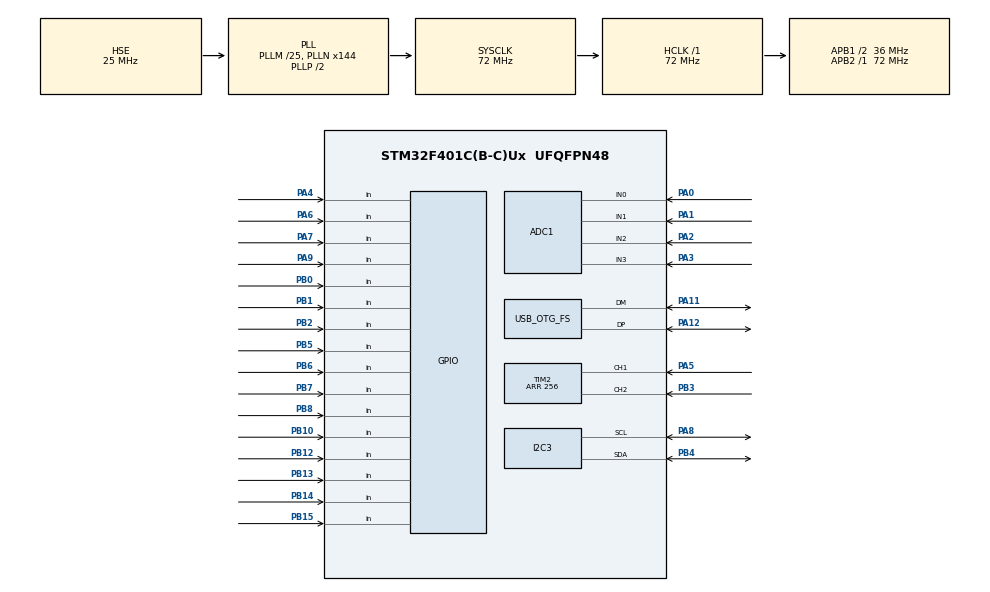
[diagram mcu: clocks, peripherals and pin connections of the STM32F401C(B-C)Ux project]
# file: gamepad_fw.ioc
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ADC1.Channel-0\#ChannelRegularConversion=ADC_CHANNEL_0
ADC1.Channel-1\#ChannelRegularConversion=ADC_CHANNEL_1
ADC1.Channel-2\#ChannelRegularConversion=ADC_CHANNEL_2
ADC1.Channel-3\#ChannelRegularConversion=ADC_CHANNEL_3
ADC1.ContinuousConvMode=ENABLE
ADC1.NbrOfConversion=4
ADC1.NbrOfConversionFlag=1
ADC1.Rank-0\#ChannelRegularConversion=1
ADC1.Rank-1\#ChannelRegularConversion=2
ADC1.Rank-2\#ChannelRegularConversion=3
ADC1.Rank-3\#ChannelRegularConversion=4
ADC1.SamplingTime-0\#ChannelRegularConversion=ADC_SAMPLETIME_3CYCLES
ADC1.SamplingTime-1\#ChannelRegularConversion=ADC_SAMPLETIME_3CYCLES
ADC1.SamplingTime-2\#ChannelRegularConversion=ADC_SAMPLETIME_3CYCLES
ADC1.SamplingTime-3\#ChannelRegularConversion=ADC_SAMPLETIME_3CYCLES
ADC1.ScanConvMode=ENABLE
ADC1.master=1
I2C3.I2C_Mode=I2C_Fast
Mcu.Family=STM32F4
Mcu.Name=STM32F401C(B-C)Ux
Mcu.Package=UFQFPN48
NVIC.OTG_FS_IRQn=true\:0\:0\:false\:false\:true\:false\:true\:true
NVIC.PriorityGroup=NVIC_PRIORITYGROUP_4
PA0-WKUP.Signal=ADCx_IN0
PA1.Signal=ADCx_IN1
PA11.Mode=Device_Only
PA11.Signal=USB_OTG_FS_DM
PA12.Mode=Device_Only
PA12.Signal=USB_OTG_FS_DP
PA2.Signal=ADCx_IN2
PA3.Signal=ADCx_IN3
PA4.GPIO_PuPd=GPIO_PULLUP
PA4.Signal=GPIO_Input
PA5.Signal=S_TIM2_CH1_ETR
PA6.GPIO_PuPd=GPIO_PULLUP
PA6.Signal=GPIO_Input
PA7.GPIO_PuPd=GPIO_PULLUP
PA7.Signal=GPIO_Input
PA8.Mode=I2C
PA8.Signal=I2C3_SCL
PA9.GPIO_PuPd=GPIO_PULLUP
PA9.Signal=GPIO_Input
PB0.GPIO_PuPd=GPIO_PULLUP
PB0.Signal=GPIO_Input
PB1.GPIO_PuPd=GPIO_PULLUP
PB1.Signal=GPIO_Input
PB10.GPIO_PuPd=GPIO_PULLUP
PB10.Signal=GPIO_Input
PB12.GPIO_PuPd=GPIO_PULLUP
PB12.Signal=GPIO_Input
PB13.GPIO_PuPd=GPIO_PULLUP
PB13.Signal=GPIO_Input
PB14.GPIO_PuPd=GPIO_PULLUP
PB14.Signal=GPIO_Input
PB15.GPIO_PuPd=GPIO_PULLUP
PB15.Signal=GPIO_Input
PB2.GPIO_PuPd=GPIO_PULLUP
PB2.Signal=GPIO_Input
PB3.Signal=S_TIM2_CH2
PB4.Mode=I2C
PB4.Signal=I2C3_SDA
PB5.GPIO_PuPd=GPIO_PULLUP
PB5.Signal=GPIO_Input
PB6.GPIO_PuPd=GPIO_PULLUP
PB6.Signal=GPIO_Input
PB7.GPIO_PuPd=GPIO_PULLUP
PB7.Signal=GPIO_Input
PB8.GPIO_PuPd=GPIO_PULLUP
PB8.Signal=GPIO_Input
PH0\ -\ OSC_IN.Mode=HSE-External-Oscillator
PH0\ -\ OSC_IN.Signal=RCC_OSC_IN
PH1\ -\ OSC_OUT.Mode=HSE-External-Oscillator
PH1\ -\ OSC_OUT.Signal=RCC_OSC_OUT
ProjectManager.HeapSize=0x200
ProjectManager.StackSize=0x400
ProjectManager.TargetToolchain=STM32CubeIDE
RCC.48MHZClocksFreq_Value=48000000
RCC.AHBFreq_Value=72000000
RCC.APB1CLKDivider=RCC_HCLK_DIV2
RCC.APB1Freq_Value=36000000
RCC.APB1TimFreq_Value=72000000
RCC.APB2Freq_Value=72000000
RCC.APB2TimFreq_Value=72000000
RCC.CortexFreq_Value=72000000
RCC.HCLKFreq_Value=72000000
RCC.HSE_VALUE=25000000
RCC.HSI_VALUE=16000000
RCC.LSE_VALUE=32768
RCC.PLLM=25
RCC.PLLN=144
RCC.PLLQ=3
RCC.SYSCLKFreq_VALUE=72000000
RCC.SYSCLKSource=RCC_SYSCLKSOURCE_PLLCLK
RCC.VCOOutputFreq_Value=144000000
SH.ADCx_IN0.0=ADC1_IN0,IN0
SH.ADCx_IN1.0=ADC1_IN1,IN1
SH.ADCx_IN2.0=ADC1_IN2,IN2
SH.ADCx_IN3.0=ADC1_IN3,IN3
SH.S_TIM2_CH1_ETR.0=TIM2_CH1,Encoder_Interface
SH.S_TIM2_CH2.0=TIM2_CH2,Encoder_Interface
TIM2.EncoderMode=TIM_ENCODERMODE_TI12
TIM2.Period=256
USB_DEVICE.CLASS_NAME_FS=CUSTOM_HID
USB_DEVICE.PRODUCT_STRING_CUSTOMHID_FS=STM32 GAMEPAD
USB_DEVICE.VirtualMode=CustomHid
USB_DEVICE.VirtualModeFS=Custom_Hid_FS
USB_OTG_FS.VirtualMode=Device_Only
VP_USB_DEVICE_VS_USB_DEVICE_CUSTOM_HID_FS.Mode=CUSTOM_HID_FS
board=custom

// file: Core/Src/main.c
/* USER CODE BEGIN Header */
/**
  ******************************************************************************
  * @file           : main.c
  * @brief          : Main program body
  ******************************************************************************
  * @attention
  *
  * Copyright (c) 2023 STMicroelectronics.
  * All rights reserved.
  *
  * This software is licensed under terms that can be found in the LICENSE file
  * in the root directory of this software component.
  * If no LICENSE file comes with this software, it is provided AS-IS.
  *
  ******************************************************************************
  */
/* USER CODE END Header */
#include "main.h"
#include "usb_device.h"
#include <stdio.h>
#include <stdlib.h>

/* USER CODE BEGIN Includes */
#include "ssd1306.h"
#include "ssd1306_conf.h"
#include "ssd1306_fonts.h"
#include "ssd1306_tests.h"
/* USER CODE END Includes */

/* USER CODE BEGIN PTD */
/** **/
typedef enum {
    MODE_GAMEPAD,
    MODE_MOUSE,
    MODE_COUNT
} Mode;

typedef struct
__attribute__((__packed__))
{
  uint8_t reportId;                        // Report ID = 0x01
  uint8_t leftClick:1;
  uint8_t rightClick:1;
  uint8_t midClick:1;
  uint8_t pad:5;
  int8_t pointerX;
  int8_t pointerY;
  int8_t wheel;
} mouseReport_t;

typedef struct
__attribute__((__packed__))
{
	uint8_t reportId; 	                 	//Report ID 0x01
	uint16_t buttons;
	int8_t leftX;
	int8_t leftY;
	int8_t rightX;
	int8_t rightY;
}gamepadReport_t;

/* USER CODE END PTD */

#define BTN_NUM 			16
#define ADC_CHANNELS		4

ADC_HandleTypeDef hadc1;

I2C_HandleTypeDef hi2c3;

TIM_HandleTypeDef htim2;

GPIO_TypeDef* port[BTN_NUM] = {GPIOB, GPIOA, GPIOA, GPIOB, GPIOB, GPIOB, GPIOB, GPIOB, GPIOA, GPIOB, GPIOA, GPIOB, GPIOB, GPIOB, GPIOB, GPIOB};
uint16_t pin[BTN_NUM] = {GPIO_PIN_0, GPIO_PIN_7, GPIO_PIN_6, GPIO_PIN_1, GPIO_PIN_12, GPIO_PIN_10, GPIO_PIN_13, GPIO_PIN_2, GPIO_PIN_9, GPIO_PIN_15, GPIO_PIN_4, GPIO_PIN_14, GPIO_PIN_5, GPIO_PIN_7, GPIO_PIN_8, GPIO_PIN_6};
uint8_t keycode[BTN_NUM] = {0x04, 0x05, 0x06, 0x07, 0x08, 0x09, 0x0A, 0x0B, 0x0C, 0x0D, 0x0E, 0x0F, 0x10, 0x11, 0x12, 0x13};

/* USER CODE BEGIN PV */
mouseReport_t mouseReport = {0x02, 0, 0, 0, 0, 0, 0};
gamepadReport_t gamepadReport = {0x01, 0, 0, 0, 0, 0};

char lcdBuffer[3][32];

uint16_t adcValues[ADC_CHANNELS];
Mode modeState = MODE_GAMEPAD;

/* USER CODE END PV */

void SystemClock_Config(void);
static void MX_GPIO_Init(void);
static void MX_ADC1_Init(void);
static void MX_I2C3_Init(void);
static void MX_TIM2_Init(void);
/* USER CODE BEGIN PFP */
extern USBD_HandleTypeDef hUsbDeviceFS;
void USBD_CUSTOM_HID_SendReport();
/* USER CODE END PFP */

/* USER CODE BEGIN 0 */
void mouseProcess(void);
void gamepadProcess(void);

uint32_t getADCValue(uint32_t channel);
void getAllADCValue(void);

uint8_t switchMode(void);

/* Array of mode handlers */
void (*modeHandlers[])(void) = {gamepadProcess, mouseProcess};

/* Display update */
void updateDisplay(void);

/* USER CODE END 0 */

int main(void)
{

  /* MCU Configuration--------------------------------------------------------*/

  /* Reset of all peripherals, Initializes the Flash interface and the Systick. */
  HAL_Init();

  /* Configure the system clock */
  SystemClock_Config();

  /* Initialize all configured peripherals */
  MX_GPIO_Init();
  MX_ADC1_Init();
  MX_I2C3_Init();
  MX_TIM2_Init();
  MX_USB_DEVICE_Init();
  ssd1306_Init();

  ssd1306_Fill(Black);
  ssd1306_SetCursor(1, 15);
  ssd1306_WriteString("Test 2", Font_6x8, White);
  ssd1306_UpdateScreen();
  HAL_Delay(3000);
  /* USER CODE BEGIN 2 */
  HAL_TIM_Encoder_Start(&htim2, TIM_CHANNEL_1 | TIM_CHANNEL_2);
  /* USER CODE END 2 */

  /* Infinite loop */
  while (1)
  {
	  getAllADCValue();
	  if(switchMode())
	  {
		  while(switchMode());
		  modeState++;
		  if(modeState > MODE_COUNT)
			  modeState = MODE_GAMEPAD;
	  }

	  modeHandlers[modeState]();
	  updateDisplay();
  }
}

/**** Functions definition****/

/*
 * @brief	Switch mode condition
 * @retval	none
 * @note	Hold PB0, PA6, PB1 at the same time and then release
 */
uint8_t switchMode(void)
{
	return (!(HAL_GPIO_ReadPin(GPIOB, GPIO_PIN_0) && HAL_GPIO_ReadPin(GPIOA, GPIO_PIN_6) && HAL_GPIO_ReadPin(GPIOB, GPIO_PIN_1)));
}

/*
 * @brief	Update Display
 * @retval	None
 */
void updateDisplay(void)
{
    const char *modeNames[] = { "Gamepad Mode", "Mouse Mode"};
    sprintf(lcdBuffer[0], "%s", modeNames[modeState]);
    sprintf(lcdBuffer[1], "ADC: %d %d", adcValues[0], adcValues[1]);
    sprintf(lcdBuffer[2], "ADC: %d %d", adcValues[2], adcValues[3]);

    ssd1306_Fill(Black);
    ssd1306_SetCursor(1, 10);
    ssd1306_WriteString(lcdBuffer[0], Font_6x8, White);
    ssd1306_SetCursor(1, 30);
    ssd1306_WriteString(lcdBuffer[1], Font_6x8, White);
    ssd1306_SetCursor(1, 50);
    ssd1306_WriteString(lcdBuffer[2], Font_6x8, White);
    ssd1306_UpdateScreen();
}

/*
 * @brief	Get ADC value from a channel of ADC1
 * @retval 	uint32
 */
//uint32_t getADCValue(uint32_t channel)
//{
//	uint32_t value = 0;
//	ADC_ChannelConfTypeDef sConfig = {0};
//	sConfig.Channel = channel;
//	sConfig.Rank = 1;
//	sConfig.SamplingTime = ADC_SAMPLETIME_3CYCLES;
//	if (HAL_ADC_ConfigChannel(&hadc1, &sConfig) != HAL_OK)
//	{
//		Error_Handler();
//	}
//	HAL_ADC_Start(&hadc1);
//	HAL_Delay(1);
//	HAL_ADC_PollForConversion(&hadc1, 10);
//	value = HAL_ADC_GetValue(&hadc1);
//	HAL_ADC_Stop(&hadc1);
//	return value;
//}

/*
 * @brief	Get values from ADC1 channel 0-4 and assign into array adcValues
 * @retval	None
 * @note	Continuous Conversion Mode is enabled
 */
void getAllADCValue(void)
{
    HAL_ADC_Start(&hadc1);
    for (uint8_t i = 0; i < 4; i++)
    {
        if (HAL_ADC_PollForConversion(&hadc1, HAL_MAX_DELAY) == HAL_OK)
        {
            adcValues[i] = HAL_ADC_GetValue(&hadc1);
        }
    }

    HAL_ADC_Stop(&hadc1);
}

/*
 * @brief	Gamepad Process
 * @retval	None
 */
void mouseProcess(void)
{
	// Get axes values
    mouseReport.pointerX = (adcValues[3] - 2047) * 255 / 4095;		// -127 - 127
    mouseReport.pointerY = (2047 - adcValues[2]) * 255 / 4095;

    // Get buttons state
    mouseReport.leftClick = (HAL_GPIO_ReadPin(GPIOB, GPIO_PIN_0) == GPIO_PIN_RESET);
    mouseReport.rightClick = (HAL_GPIO_ReadPin(GPIOA, GPIO_PIN_6) == GPIO_PIN_RESET);
    mouseReport.midClick = (HAL_GPIO_ReadPin(GPIOB, GPIO_PIN_1) == GPIO_PIN_RESET);

    // Get wheel values
    mouseReport.wheel = __HAL_TIM_GET_COUNTER(&htim2) - 127;

    // Send report to the host
    USBD_CUSTOM_HID_SendReport(&hUsbDeviceFS, &mouseReport, sizeof(mouseReport));
}

/*
 * @brief	Mouse Process
 * @retval	None
 */
void gamepadProcess(void)
{
	// Get axes values
    gamepadReport.leftX = (adcValues[3] - 2047) * 255 / 4095;		// -127 - 127
    gamepadReport.leftY = (2047 - adcValues[2]) * 255 / 4095;
    gamepadReport.rightX = (adcValues[1] - 2047) * 255 / 4095;
    gamepadReport.rightY = (2047 - adcValues[0]) * 255 / 4095;

    // Reset buttons
    gamepadReport.buttons = 0;

    // Get buttons state
    for (int i = 0; i < 16; i++)
    {
        if (HAL_GPIO_ReadPin(port[i], pin[i]) == GPIO_PIN_RESET)
        {
            gamepadReport.buttons |= (1 << i);
        }
    }

    // Send report to the host
    USBD_CUSTOM_HID_SendReport(&hUsbDeviceFS, &gamepadReport, sizeof(gamepadReport));
}
void SystemClock_Config(void)
{
  RCC_OscInitTypeDef RCC_OscInitStruct = {0};
  RCC_ClkInitTypeDef RCC_ClkInitStruct = {0};

  /** Configure the main internal regulator output voltage
  */
  __HAL_RCC_PWR_CLK_ENABLE();
  __HAL_PWR_VOLTAGESCALING_CONFIG(PWR_REGULATOR_VOLTAGE_SCALE2);

  /** Initializes the RCC Oscillators according to the specified parameters
  * in the RCC_OscInitTypeDef structure.
  */
  RCC_OscInitStruct.OscillatorType = RCC_OSCILLATORTYPE_HSE;
  RCC_OscInitStruct.HSEState = RCC_HSE_ON;
  RCC_OscInitStruct.PLL.PLLState = RCC_PLL_ON;
  RCC_OscInitStruct.PLL.PLLSource = RCC_PLLSOURCE_HSE;
  RCC_OscInitStruct.PLL.PLLM = 25;
  RCC_OscInitStruct.PLL.PLLN = 144;
  RCC_OscInitStruct.PLL.PLLP = RCC_PLLP_DIV2;
  RCC_OscInitStruct.PLL.PLLQ = 3;
  if (HAL_RCC_OscConfig(&RCC_OscInitStruct) != HAL_OK)
  {
    Error_Handler();
  }

  /** Initializes the CPU, AHB and APB buses clocks
  */
  RCC_ClkInitStruct.ClockType = RCC_CLOCKTYPE_HCLK|RCC_CLOCKTYPE_SYSCLK
                              |RCC_CLOCKTYPE_PCLK1|RCC_CLOCKTYPE_PCLK2;
  RCC_ClkInitStruct.SYSCLKSource = RCC_SYSCLKSOURCE_PLLCLK;
  RCC_ClkInitStruct.AHBCLKDivider = RCC_SYSCLK_DIV1;
  RCC_ClkInitStruct.APB1CLKDivider = RCC_HCLK_DIV2;
  RCC_ClkInitStruct.APB2CLKDivider = RCC_HCLK_DIV1;

  if (HAL_RCC_ClockConfig(&RCC_ClkInitStruct, FLASH_LATENCY_2) != HAL_OK)
  {
    Error_Handler();
  }
}

static void MX_ADC1_Init(void)
{

  ADC_ChannelConfTypeDef sConfig = {0};

  /** Configure the global features of the ADC (Clock, Resolution, Data Alignment and number of conversion)
  */
  hadc1.Instance = ADC1;
  hadc1.Init.ClockPrescaler = ADC_CLOCK_SYNC_PCLK_DIV2;
  hadc1.Init.Resolution = ADC_RESOLUTION_12B;
  hadc1.Init.ScanConvMode = ENABLE;
  hadc1.Init.ContinuousConvMode = ENABLE;
  hadc1.Init.DiscontinuousConvMode = DISABLE;
  hadc1.Init.ExternalTrigConvEdge = ADC_EXTERNALTRIGCONVEDGE_NONE;
  hadc1.Init.ExternalTrigConv = ADC_SOFTWARE_START;
  hadc1.Init.DataAlign = ADC_DATAALIGN_RIGHT;
  hadc1.Init.NbrOfConversion = 4;
  hadc1.Init.DMAContinuousRequests = DISABLE;
  hadc1.Init.EOCSelection = ADC_EOC_SINGLE_CONV;
  if (HAL_ADC_Init(&hadc1) != HAL_OK)
  {
    Error_Handler();
  }

  /** Configure for the selected ADC regular channel its corresponding rank in the sequencer and its sample time.
  */
  sConfig.Channel = ADC_CHANNEL_0;
  sConfig.Rank = 1;
  sConfig.SamplingTime = ADC_SAMPLETIME_3CYCLES;
  if (HAL_ADC_ConfigChannel(&hadc1, &sConfig) != HAL_OK)
  {
    Error_Handler();
  }

  /** Configure for the selected ADC regular channel its corresponding rank in the sequencer and its sample time.
  */
  sConfig.Channel = ADC_CHANNEL_1;
  sConfig.Rank = 2;
  if (HAL_ADC_ConfigChannel(&hadc1, &sConfig) != HAL_OK)
  {
    Error_Handler();
  }

  /** Configure for the selected ADC regular channel its corresponding rank in the sequencer and its sample time.
  */
  sConfig.Channel = ADC_CHANNEL_2;
  sConfig.Rank = 3;
  if (HAL_ADC_ConfigChannel(&hadc1, &sConfig) != HAL_OK)
  {
    Error_Handler();
  }

  /** Configure for the selected ADC regular channel its corresponding rank in the sequencer and its sample time.
  */
  sConfig.Channel = ADC_CHANNEL_3;
  sConfig.Rank = 4;
  if (HAL_ADC_ConfigChannel(&hadc1, &sConfig) != HAL_OK)
  {
    Error_Handler();
  }

}

static void MX_I2C3_Init(void)
{

  hi2c3.Instance = I2C3;
  hi2c3.Init.ClockSpeed = 400000;
  hi2c3.Init.DutyCycle = I2C_DUTYCYCLE_2;
  hi2c3.Init.OwnAddress1 = 0;
  hi2c3.Init.AddressingMode = I2C_ADDRESSINGMODE_7BIT;
  hi2c3.Init.DualAddressMode = I2C_DUALADDRESS_DISABLE;
  hi2c3.Init.OwnAddress2 = 0;
  hi2c3.Init.GeneralCallMode = I2C_GENERALCALL_DISABLE;
  hi2c3.Init.NoStretchMode = I2C_NOSTRETCH_DISABLE;
  if (HAL_I2C_Init(&hi2c3) != HAL_OK)
  {
    Error_Handler();
  }

}

static void MX_TIM2_Init(void)
{

  TIM_Encoder_InitTypeDef sConfig = {0};
  TIM_MasterConfigTypeDef sMasterConfig = {0};

  htim2.Instance = TIM2;
  htim2.Init.Prescaler = 0;
  htim2.Init.CounterMode = TIM_COUNTERMODE_UP;
  htim2.Init.Period = 256;
  htim2.Init.ClockDivision = TIM_CLOCKDIVISION_DIV1;
  htim2.Init.AutoReloadPreload = TIM_AUTORELOAD_PRELOAD_DISABLE;
  sConfig.EncoderMode = TIM_ENCODERMODE_TI12;
  sConfig.IC1Polarity = TIM_ICPOLARITY_RISING;
  sConfig.IC1Selection = TIM_ICSELECTION_DIRECTTI;
  sConfig.IC1Prescaler = TIM_ICPSC_DIV1;
  sConfig.IC1Filter = 0;
  sConfig.IC2Polarity = TIM_ICPOLARITY_RISING;
  sConfig.IC2Selection = TIM_ICSELECTION_DIRECTTI;
  sConfig.IC2Prescaler = TIM_ICPSC_DIV1;
  sConfig.IC2Filter = 0;
  if (HAL_TIM_Encoder_Init(&htim2, &sConfig) != HAL_OK)
  {
    Error_Handler();
  }
  sMasterConfig.MasterOutputTrigger = TIM_TRGO_RESET;
  sMasterConfig.MasterSlaveMode = TIM_MASTERSLAVEMODE_DISABLE;
  if (HAL_TIMEx_MasterConfigSynchronization(&htim2, &sMasterConfig) != HAL_OK)
  {
    Error_Handler();
  }

}

static void MX_GPIO_Init(void)
{
  GPIO_InitTypeDef GPIO_InitStruct = {0};

  /* GPIO Ports Clock Enable */
  __HAL_RCC_GPIOH_CLK_ENABLE();
  __HAL_RCC_GPIOA_CLK_ENABLE();
  __HAL_RCC_GPIOB_CLK_ENABLE();

  /*Configure GPIO pins : PA4 PA6 PA7 PA9 */
  GPIO_InitStruct.Pin = GPIO_PIN_4|GPIO_PIN_6|GPIO_PIN_7|GPIO_PIN_9;
  GPIO_InitStruct.Mode = GPIO_MODE_INPUT;
  GPIO_InitStruct.Pull = GPIO_PULLUP;
  HAL_GPIO_Init(GPIOA, &GPIO_InitStruct);

  /*Configure GPIO pins : PB0 PB1 PB2 PB10
                           PB12 PB13 PB14 PB15
                           PB5 PB6 PB7 PB8 */
  GPIO_InitStruct.Pin = GPIO_PIN_0|GPIO_PIN_1|GPIO_PIN_2|GPIO_PIN_10
                          |GPIO_PIN_12|GPIO_PIN_13|GPIO_PIN_14|GPIO_PIN_15
                          |GPIO_PIN_5|GPIO_PIN_6|GPIO_PIN_7|GPIO_PIN_8;
  GPIO_InitStruct.Mode = GPIO_MODE_INPUT;
  GPIO_InitStruct.Pull = GPIO_PULLUP;
  HAL_GPIO_Init(GPIOB, &GPIO_InitStruct);

}

void Error_Handler(void)
{
  __disable_irq();
  while (1)
  {
  }
}
